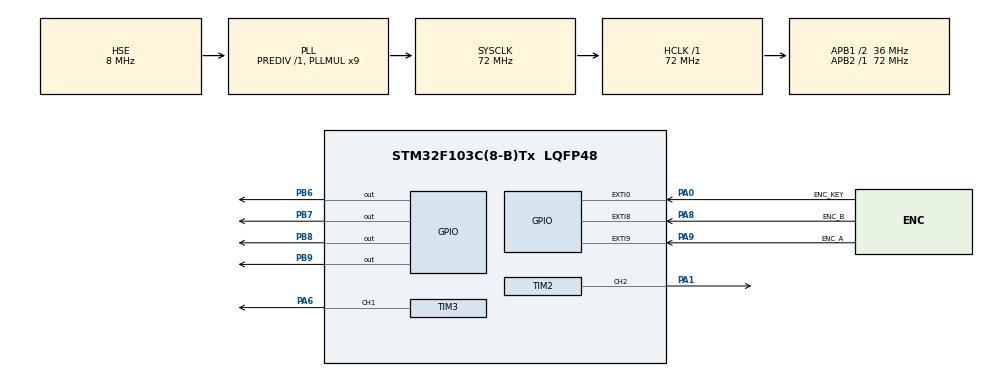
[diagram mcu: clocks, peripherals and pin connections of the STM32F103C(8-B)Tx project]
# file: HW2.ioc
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Mcu.Family=STM32F1
Mcu.Name=STM32F103C(8-B)Tx
Mcu.Package=LQFP48
NVIC.EXTI0_IRQn=true\:0\:0\:false\:false\:true\:true\:true\:true
NVIC.EXTI9_5_IRQn=true\:0\:0\:false\:false\:true\:true\:true\:true
NVIC.PriorityGroup=NVIC_PRIORITYGROUP_4
NVIC.TIM2_IRQn=true\:0\:0\:false\:false\:true\:true\:true\:true
PA0-WKUP.GPIO_Label=ENC_KEY
PA0-WKUP.GPIO_ModeDefaultEXTI=GPIO_MODE_IT_FALLING
PA0-WKUP.GPIO_PuPd=GPIO_PULLUP
PA0-WKUP.Signal=GPXTI0
PA1.Signal=S_TIM2_CH2
PA13.Mode=Serial_Wire
PA13.Signal=SYS_JTMS-SWDIO
PA14.Mode=Serial_Wire
PA14.Signal=SYS_JTCK-SWCLK
PA6.Signal=S_TIM3_CH1
PA8.GPIO_Label=ENC_B
PA8.GPIO_ModeDefaultEXTI=GPIO_MODE_IT_RISING_FALLING
PA8.GPIO_PuPd=GPIO_PULLUP
PA8.Signal=GPXTI8
PA9.GPIO_Label=ENC_A
PA9.GPIO_ModeDefaultEXTI=GPIO_MODE_IT_RISING_FALLING
PA9.GPIO_PuPd=GPIO_PULLUP
PA9.Signal=GPXTI9
PB6.PinState=GPIO_PIN_RESET
PB6.Signal=GPIO_Output
PB7.PinState=GPIO_PIN_SET
PB7.Signal=GPIO_Output
PB8.GPIO_Speed=GPIO_SPEED_FREQ_HIGH
PB8.PinState=GPIO_PIN_SET
PB8.Signal=GPIO_Output
PB9.PinState=GPIO_PIN_SET
PB9.Signal=GPIO_Output
PD0-OSC_IN.Mode=HSE-External-Oscillator
PD0-OSC_IN.Signal=RCC_OSC_IN
PD1-OSC_OUT.Mode=HSE-External-Oscillator
PD1-OSC_OUT.Signal=RCC_OSC_OUT
ProjectManager.HeapSize=0x200
ProjectManager.StackSize=0x400
ProjectManager.TargetToolchain=MDK-ARM V5.32
RCC.AHBFreq_Value=72000000
RCC.APB1CLKDivider=RCC_HCLK_DIV2
RCC.APB1Freq_Value=36000000
RCC.APB1TimFreq_Value=72000000
RCC.APB2Freq_Value=72000000
RCC.APB2TimFreq_Value=72000000
RCC.HCLKFreq_Value=72000000
RCC.PLLMUL=RCC_PLL_MUL9
RCC.PLLSourceVirtual=RCC_PLLSOURCE_HSE
RCC.SYSCLKFreq_VALUE=72000000
RCC.SYSCLKSource=RCC_SYSCLKSOURCE_PLLCLK
RCC.USBFreq_Value=72000000
SH.S_TIM2_CH2.0=TIM2_CH2,PWM Generation2 CH2
SH.S_TIM3_CH1.0=TIM3_CH1,PWM Generation1 CH1
TIM2.AutoReloadPreload=TIM_AUTORELOAD_PRELOAD_ENABLE
TIM2.Channel-PWM\ Generation2\ CH2=TIM_CHANNEL_2
TIM2.Period=999
TIM2.Prescaler=71
TIM2.Pulse-PWM\ Generation2\ CH2=500
TIM3.AutoReloadPreload=TIM_AUTORELOAD_PRELOAD_ENABLE
TIM3.Channel-PWM\ Generation1\ CH1=TIM_CHANNEL_1
TIM3.Period=19999
TIM3.Prescaler=71
TIM3.Pulse-PWM\ Generation1\ CH1=1500
VP_TIM3_VS_ClockSourceINT.Mode=Internal
board=custom

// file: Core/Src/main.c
/* USER CODE BEGIN Header */
/**
  ******************************************************************************
  * @file           : main.c
  * @brief          : Main program body
  ******************************************************************************
  * @attention
  *
  * Copyright (c) 2026 STMicroelectronics.
  * All rights reserved.
  *
  * This software is licensed under terms that can be found in the LICENSE file
  * in the root directory of this software component.
  * If no LICENSE file comes with this software, it is provided AS-IS.
  *
  ******************************************************************************
  */
/* USER CODE END Header */
#include "main.h"
#include "tim.h"
#include "gpio.h"

/* USER CODE BEGIN Includes */
#include "OLED.h"
#include "encoder.h"
#include "servo.h"
#include "buzzer.h"
/* USER CODE END Includes */

/* USER CODE BEGIN PV */
#define DEG_PER_DETENT    2
#define EDGES_PER_DETENT  4
/* USER CODE END PV */

void SystemClock_Config(void);

/* USER CODE BEGIN 0 */
/*********************************************************************

 *********************************************************************/
/* USER CODE END 0 */

int main(void)
{

  /* USER CODE BEGIN 1 */
  int32_t angle     = 90;
  int32_t last_step = 0;
  uint8_t last_beep = 0xFF;
  /* USER CODE END 1 */

  /* MCU Configuration--------------------------------------------------------*/

  /* Reset of all peripherals, Initializes the Flash interface and the Systick. */
  HAL_Init();

  /* Configure the system clock */
  SystemClock_Config();

  /* Initialize all configured peripherals */
  MX_GPIO_Init();
  MX_TIM2_Init();
  MX_TIM3_Init();
  /* USER CODE BEGIN 2 */
  OLED_Init();
  Encoder_Init();
  Servo_Init();
  Buzzer_Init();

  OLED_ShowString(1, 1, "Servo Angle:");
  OLED_ShowString(3, 1, "Beep: 1s/0.2s");
  OLED_ShowString(4, 1, "SILENT");

  OLED_ShowNum(2, 1, (uint32_t)angle, 3);
  OLED_ShowString(2, 4, " deg");

  last_step = Encoder_GetStep();
  /* USER CODE END 2 */

  /* Infinite loop */
  while (1)
  {

    /* USER CODE BEGIN 3 */

    int32_t step  = Encoder_GetStep();
    int32_t delta = step - last_step;

    if (delta >= EDGES_PER_DETENT || delta <= -EDGES_PER_DETENT)
    {
      int32_t detents   = delta / EDGES_PER_DETENT;
      int32_t new_angle = angle + detents * DEG_PER_DETENT;

      if (new_angle < 0)   new_angle = 0;
      if (new_angle > 180) new_angle = 180;

      last_step += detents * EDGES_PER_DETENT;

      if (new_angle != angle)
      {
        angle = new_angle;
        Servo_SetAngle((float)angle);
        OLED_ShowNum(2, 1, (uint32_t)angle, 3);
      }
    }

    if (Buzzer_IsOn() != last_beep)
    {
      last_beep = Buzzer_IsOn();
      OLED_ShowString(4, 1, last_beep ? "BEEPING" : "SILENT ");
    }
  }
  /* USER CODE END 3 */
}

void SystemClock_Config(void)
{
  RCC_OscInitTypeDef RCC_OscInitStruct = {0};
  RCC_ClkInitTypeDef RCC_ClkInitStruct = {0};

  /** Initializes the RCC Oscillators according to the specified parameters
  * in the RCC_OscInitTypeDef structure.
  */
  RCC_OscInitStruct.OscillatorType = RCC_OSCILLATORTYPE_HSE;
  RCC_OscInitStruct.HSEState = RCC_HSE_ON;
  RCC_OscInitStruct.HSEPredivValue = RCC_HSE_PREDIV_DIV1;
  RCC_OscInitStruct.HSIState = RCC_HSI_ON;
  RCC_OscInitStruct.PLL.PLLState = RCC_PLL_ON;
  RCC_OscInitStruct.PLL.PLLSource = RCC_PLLSOURCE_HSE;
  RCC_OscInitStruct.PLL.PLLMUL = RCC_PLL_MUL9;
  if (HAL_RCC_OscConfig(&RCC_OscInitStruct) != HAL_OK)
  {
    Error_Handler();
  }

  /** Initializes the CPU, AHB and APB buses clocks
  */
  RCC_ClkInitStruct.ClockType = RCC_CLOCKTYPE_HCLK|RCC_CLOCKTYPE_SYSCLK
                              |RCC_CLOCKTYPE_PCLK1|RCC_CLOCKTYPE_PCLK2;
  RCC_ClkInitStruct.SYSCLKSource = RCC_SYSCLKSOURCE_PLLCLK;
  RCC_ClkInitStruct.AHBCLKDivider = RCC_SYSCLK_DIV1;
  RCC_ClkInitStruct.APB1CLKDivider = RCC_HCLK_DIV2;
  RCC_ClkInitStruct.APB2CLKDivider = RCC_HCLK_DIV1;

  if (HAL_RCC_ClockConfig(&RCC_ClkInitStruct, FLASH_LATENCY_2) != HAL_OK)
  {
    Error_Handler();
  }
}

/* USER CODE BEGIN 4 */
/**
  * @brief 定时器更新（溢出）中断回调
  * @note  TIM2 每 1ms 进一次，用来给蜂鸣器数 0.2s / 1s 的节奏
  */
void HAL_TIM_PeriodElapsedCallback(TIM_HandleTypeDef *htim)
{
  if (htim->Instance == TIM2)
  {
    Buzzer_Tick();
  }
}
/* USER CODE END 4 */

void Error_Handler(void)
{
  __disable_irq();
  while (1)
  {
  }
}
